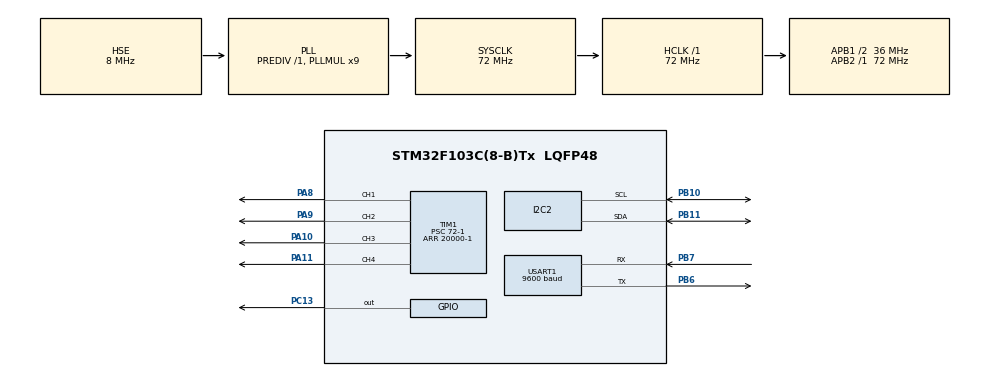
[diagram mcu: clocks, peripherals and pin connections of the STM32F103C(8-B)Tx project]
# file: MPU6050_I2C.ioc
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Mcu.Family=STM32F1
Mcu.Name=STM32F103C(8-B)Tx
Mcu.Package=LQFP48
NVIC.PriorityGroup=NVIC_PRIORITYGROUP_4
NVIC.USART1_IRQn=true\:0\:0\:false\:false\:true\:true\:true\:true
PA10.Signal=S_TIM1_CH3
PA11.Signal=S_TIM1_CH4
PA13.Mode=Serial_Wire
PA13.Signal=SYS_JTMS-SWDIO
PA14.Mode=Serial_Wire
PA14.Signal=SYS_JTCK-SWCLK
PA8.Signal=S_TIM1_CH1
PA9.Signal=S_TIM1_CH2
PB10.Mode=I2C
PB10.Signal=I2C2_SCL
PB11.Mode=I2C
PB11.Signal=I2C2_SDA
PB6.Mode=Asynchronous
PB6.Signal=USART1_TX
PB7.Mode=Asynchronous
PB7.Signal=USART1_RX
PC13-TAMPER-RTC.Signal=GPIO_Output
PD0-OSC_IN.Mode=HSE-External-Oscillator
PD0-OSC_IN.Signal=RCC_OSC_IN
PD1-OSC_OUT.Mode=HSE-External-Oscillator
PD1-OSC_OUT.Signal=RCC_OSC_OUT
ProjectManager.HeapSize=0x200
ProjectManager.StackSize=0x400
ProjectManager.TargetToolchain=MDK-ARM V5.32
RCC.ADCPresc=RCC_ADCPCLK2_DIV8
RCC.AHBFreq_Value=72000000
RCC.APB1CLKDivider=RCC_HCLK_DIV2
RCC.APB1Freq_Value=36000000
RCC.APB1TimFreq_Value=72000000
RCC.APB2Freq_Value=72000000
RCC.APB2TimFreq_Value=72000000
RCC.HCLKFreq_Value=72000000
RCC.PLLMUL=RCC_PLL_MUL9
RCC.PLLSourceVirtual=RCC_PLLSOURCE_HSE
RCC.SYSCLKFreq_VALUE=72000000
RCC.SYSCLKSource=RCC_SYSCLKSOURCE_PLLCLK
RCC.USBFreq_Value=72000000
SH.S_TIM1_CH1.0=TIM1_CH1,PWM Generation1 CH1
SH.S_TIM1_CH2.0=TIM1_CH2,PWM Generation2 CH2
SH.S_TIM1_CH3.0=TIM1_CH3,PWM Generation3 CH3
SH.S_TIM1_CH4.0=TIM1_CH4,PWM Generation4 CH4
TIM1.Channel-PWM\ Generation1\ CH1=TIM_CHANNEL_1
TIM1.Channel-PWM\ Generation2\ CH2=TIM_CHANNEL_2
TIM1.Channel-PWM\ Generation3\ CH3=TIM_CHANNEL_3
TIM1.Channel-PWM\ Generation4\ CH4=TIM_CHANNEL_4
TIM1.Period=20000-1
TIM1.Prescaler=72-1
USART1.BaudRate=9600
USART1.Mode=MODE_RX
USART1.VirtualMode=VM_ASYNC
board=custom

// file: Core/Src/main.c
/* USER CODE BEGIN Header */
/**
  ******************************************************************************
  * @file           : main.c
  * @brief          : Main program body
  ******************************************************************************
  * @attention
  *
  * Copyright (c) 2023 STMicroelectronics.
  * All rights reserved.
  *
  * This software is licensed under terms that can be found in the LICENSE file
  * in the root directory of this software component.
  * If no LICENSE file comes with this software, it is provided AS-IS.
  *
  ******************************************************************************
  */
/* USER CODE END Header */
#include "main.h"
#include "i2c.h"
#include "tim.h"
#include "usart.h"
#include "gpio.h"

/* USER CODE BEGIN Includes */
#include "MPU6050.h"
#include "PID.h"
/* USER CODE END Includes */

/* USER CODE BEGIN PTD */
#define Calibrate 1
/* USER CODE END PTD */

void SystemClock_Config(void);

/* USER CODE BEGIN 0 */
uint32_t a;
uint16_t ADC_Data=0;
int ESP_Speed=1000;

uint8_t rx_buffer[100];
uint32_t rx_IT_count = 0;
volatile uint8_t rx_data;

extern float pid_output_roll, pid_output_pitch, pid_output_yaw;

float time, timePrev;

void clear_buffer(char *buffer)
{
	memset(buffer, 0, 100);
}

long map(long x,long in_min, long in_max, long out_min, long out_max)
{
	return (x - in_min)*(out_max - out_min + 1)/(in_max -in_min + 1) + out_min;
}

void Set_Speed(void)
{
	TIM1->CCR1= ESP_Speed + pid_output_pitch + pid_output_roll + pid_output_yaw;
	TIM1->CCR2= ESP_Speed + pid_output_pitch - pid_output_roll - pid_output_yaw;
	TIM1->CCR3= ESP_Speed - pid_output_pitch - pid_output_roll + pid_output_yaw;
	TIM1->CCR4= ESP_Speed - pid_output_pitch + pid_output_roll - pid_output_yaw;
}

void HAL_UART_RxCpltCallback(UART_HandleTypeDef *huart)
{
	ESP_Speed = atoi((char *)&rx_buffer[5]);
	clear_buffer((char *) rx_buffer);
	HAL_UART_Receive_IT(&huart1, rx_buffer, 9);
	HAL_GPIO_TogglePin(GPIOC, GPIO_PIN_13);
}
/* USER CODE END 0 */

int main(void)
{

  /* MCU Configuration--------------------------------------------------------*/

  /* Reset of all peripherals, Initializes the Flash interface and the Systick. */
  HAL_Init();

  /* Configure the system clock */
  SystemClock_Config();

  /* Initialize all configured peripherals */
  MX_GPIO_Init();
  MX_I2C2_Init();
  MX_TIM1_Init();
  MX_USART1_UART_Init();
  /* USER CODE BEGIN 2 */
	MPU6050_Init();

	TIM1->CCR1 = 1000;
	HAL_TIM_PWM_Start(&htim1,TIM_CHANNEL_1);
	TIM1->CCR2 = 1000;
	HAL_TIM_PWM_Start(&htim1,TIM_CHANNEL_2);
	TIM1->CCR3 = 1000;
	HAL_TIM_PWM_Start(&htim1,TIM_CHANNEL_3);
	TIM1->CCR4 = 1000;
	HAL_TIM_PWM_Start(&htim1,TIM_CHANNEL_4);

	#if Calibrate
		TIM1->CCR1 = 2000;
		TIM1->CCR2 = 2000;
		TIM1->CCR3 = 2000;
		TIM1->CCR4 = 2000;
		HAL_Delay(2000);
		TIM1->CCR1 = 1000;
		TIM1->CCR2 = 1000;
		TIM1->CCR3 = 1000;
		TIM1->CCR4 = 1000;
		HAL_Delay(1000);
		TIM1->CCR1 = 0;
		TIM1->CCR2 = 0;
		TIM1->CCR3 = 0;
		TIM1->CCR4 = 0;
	#endif
	HAL_UART_Receive_IT(&huart1, rx_buffer, 9);
	Calculation_Gyro_error();
	Calculation_Acc_error();

  /* USER CODE END 2 */

  /* Infinite loop */
  /* USER CODE BEGIN WHILE */
  while (1)
  {
		MPU6050_Read_Accel();
		MPU6050_Read_Gyro();
		while (HAL_GetTick() - timePrev < 4); //make sure loop_time = 4ms
		timePrev = HAL_GetTick();
		Calculate_pid();
		Set_Speed();

    /* USER CODE END WHILE */

  }
}

void SystemClock_Config(void)
{
  RCC_OscInitTypeDef RCC_OscInitStruct = {0};
  RCC_ClkInitTypeDef RCC_ClkInitStruct = {0};

  /** Initializes the RCC Oscillators according to the specified parameters
  * in the RCC_OscInitTypeDef structure.
  */
  RCC_OscInitStruct.OscillatorType = RCC_OSCILLATORTYPE_HSE;
  RCC_OscInitStruct.HSEState = RCC_HSE_ON;
  RCC_OscInitStruct.HSEPredivValue = RCC_HSE_PREDIV_DIV1;
  RCC_OscInitStruct.HSIState = RCC_HSI_ON;
  RCC_OscInitStruct.PLL.PLLState = RCC_PLL_ON;
  RCC_OscInitStruct.PLL.PLLSource = RCC_PLLSOURCE_HSE;
  RCC_OscInitStruct.PLL.PLLMUL = RCC_PLL_MUL9;
  if (HAL_RCC_OscConfig(&RCC_OscInitStruct) != HAL_OK)
  {
    Error_Handler();
  }

  /** Initializes the CPU, AHB and APB buses clocks
  */
  RCC_ClkInitStruct.ClockType = RCC_CLOCKTYPE_HCLK|RCC_CLOCKTYPE_SYSCLK
                              |RCC_CLOCKTYPE_PCLK1|RCC_CLOCKTYPE_PCLK2;
  RCC_ClkInitStruct.SYSCLKSource = RCC_SYSCLKSOURCE_PLLCLK;
  RCC_ClkInitStruct.AHBCLKDivider = RCC_SYSCLK_DIV1;
  RCC_ClkInitStruct.APB1CLKDivider = RCC_HCLK_DIV2;
  RCC_ClkInitStruct.APB2CLKDivider = RCC_HCLK_DIV1;

  if (HAL_RCC_ClockConfig(&RCC_ClkInitStruct, FLASH_LATENCY_2) != HAL_OK)
  {
    Error_Handler();
  }
}

void Error_Handler(void)
{
  __disable_irq();
  while (1)
  {
  }
}
